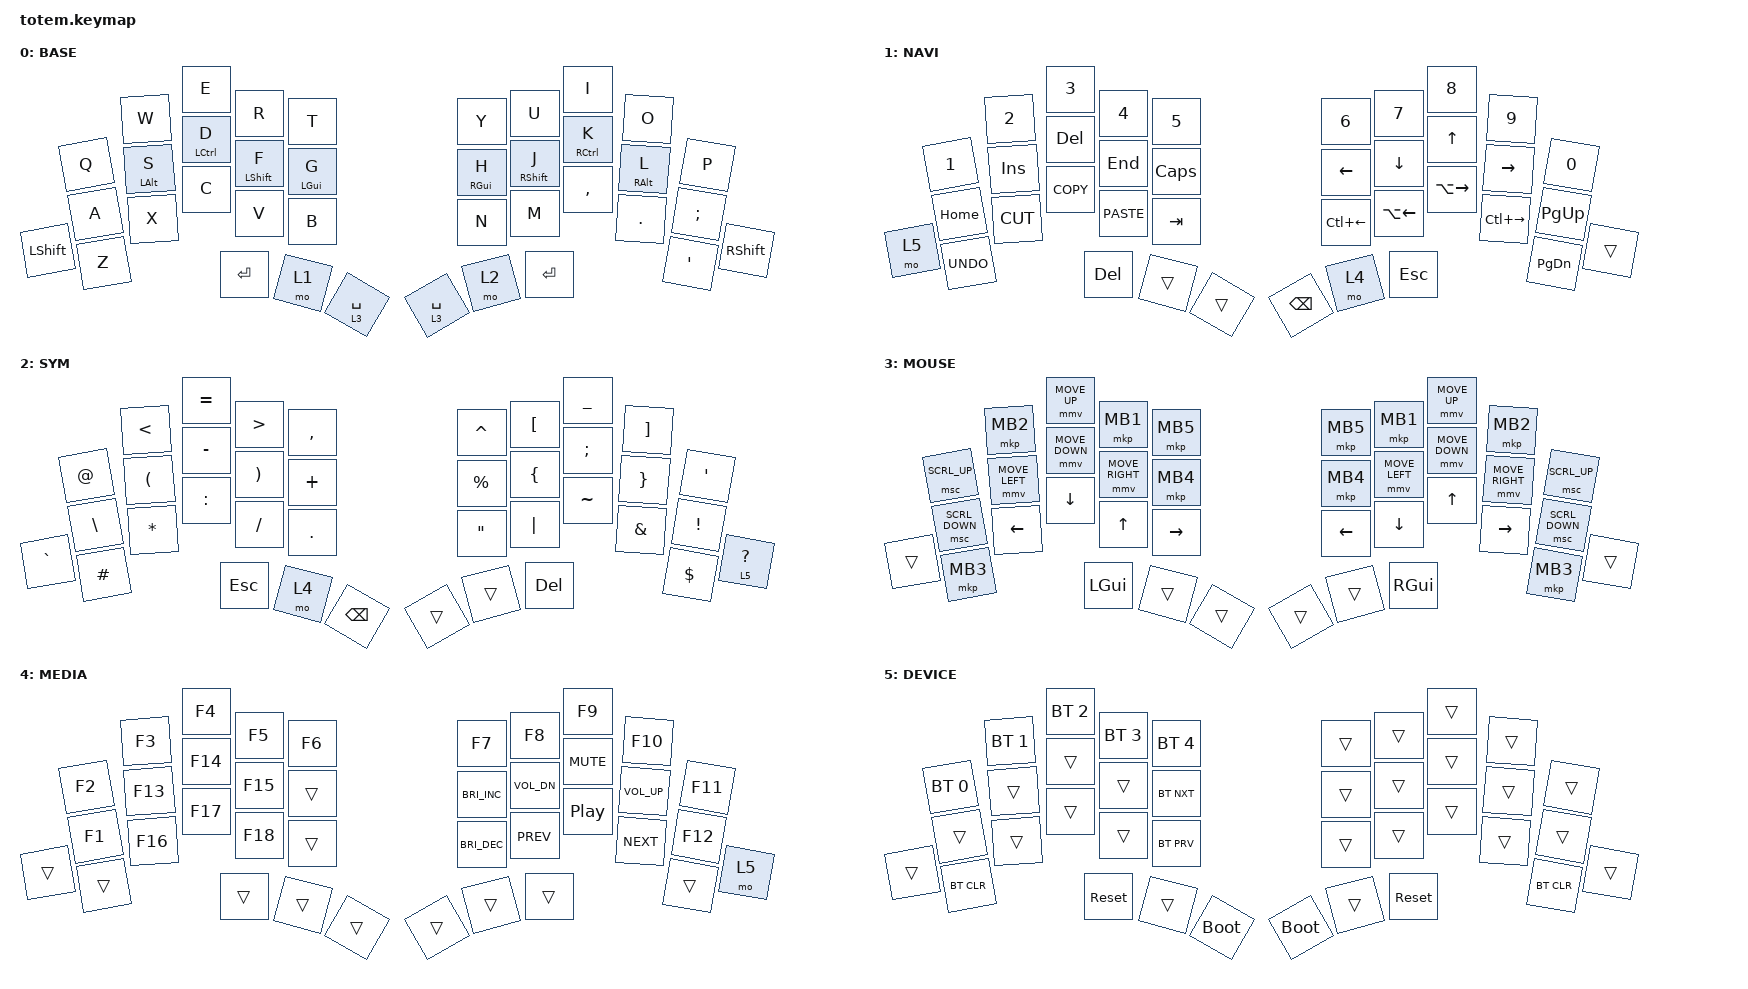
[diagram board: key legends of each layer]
//
//                                                        ▀▀▀▀▀     ▀▀▀▀▀          ▀▀█▀▀
//                                                        ▄▀▀▀▄  ▄  ▄▀▀▀▄  ▄  ▄▀▀▀▄  █  ▄▀▀▀▄
//                                                        █   █  █  █   █  █  █   █  █  █   █
//                                                         ▀▀▀   █   ▀▀▀   █   ▀▀▀   ▀   ▀▀▀
//                                                               █      ▄▄▄█▄▄▄    █   █
//                                                               ▀      █  █  █     █▄█
//                                                             ▀▀▀▀▀    █  █  █      ▀
//                                                                      ▀  ▀  ▀
//
// ▄▄▄▄▄▄▄▄▄▄▄▄▄▄▄▄▄▄▄▄▄▄▄▄▄▄▄▄▄▄▄▄▄▄▄▄▄▄▄▄▄▄▄▄▄▄▄▄▄▄▄▄▄▄▄▄▄▄▄▄▄▄▄▄▄▄▄▄▄▄▄▄▄▄▄▄▄▄▄▄▄▄▄▄▄▄▄▄▄▄▄▄▄▄▄▄▄▄▄▄▄▄▄▄▄▄▄▄▄▄▄▄▄▄▄▄▄▄▄▄▄▄▄▄▄▄▄▄▄▄▄▄▄▄▄▄▄▄▄▄▄▄▄▄▄▄▄▄▄

#include <behaviors.dtsi>
#include <dt-bindings/zmk/bt.h>
#include <dt-bindings/zmk/keys.h>
#include <dt-bindings/zmk/pointing.h>

#define Base   0
#define Nav    1
#define Sym    3
#define Mouse  4
#define Media  5
#define Device 6
#define Extra1 7
#define Extra2 8
#define Extra3 9

&mt {
    quick-tap-ms = <100>;
    global-quick-tap;
    flavor = "tap-preferred";
    tapping-term-ms = <170>;
};

&caps_word { continue-list = <UNDERSCORE MINUS BSPC>; };

/ {
    combos {
        compatible = "zmk,combos";

        combo_h {
            timeout-ms = <50>;
            key-positions = <6 7>;
            bindings = <&kp LEFT_BRACKET>;
            layers = <0>;
        };

        combo_tv_zn {
            bindings = <&kp RIGHT_BRACKET>;
            key-positions = <7 8>;
            layers = <0>;
        };

        combo_grave_esc {
            bindings = <&kp GRAVE>;
            key-positions = <26 27>;
            layers = <2>;
        };

        combo_q_mark {
            bindings = <&kp QMARK>;
            key-positions = <24 25>;
            layers = <2>;
        };

        combo_yo {
            bindings = <&kp BSLH>;
            key-positions = <2 3>;
            layers = <0>;
        };

        combo_esc {
            bindings = <&kp ESC>;
            key-positions = <0 1>;
            layers = <0>;
        };

        combo_caps_word {
            bindings = <&caps_word>;
            key-positions = <20 31>;
            layers = <0>;
        };
    };

    macros {
        gif: gif {
            label = "giphy";
            compatible = "zmk,behavior-macro";
            #binding-cells = <0>;
            bindings =
                <&macro_press>,
                <&kp LSHFT>,
                <&macro_tap>,
                <&kp N2>,
                <&macro_release>,
                <&kp LSHFT>,
                <&macro_tap>,
                <&kp G &kp I &kp F>;
        };
    };

    keymap {
        compatible = "zmk,keymap";

        // ▄▄▄▄▄▄▄▄▄▄▄▄▄▄▄▄▄▄▄▄▄▄▄▄▄▄▄▄▄▄▄▄▄▄▄▄▄▄▄▄▄▄▄▄▄▄▄▄▄▄▄▄▄▄▄▄▄▄▄▄▄▄▄▄▄▄▄▄▄▄▄▄▄▄▄▄▄▄▄▄▄▄▄▄▄▄▄▄▄▄▄▄▄▄▄▄▄▄▄▄▄▄▄▄▄▄▄▄▄▄▄▄▄▄▄▄▄▄▄▄▄▄▄▄▄▄▄▄▄▄▄▄▄▄▄▄▄▄▄▄▄▄▄▄▄▄▄▄▄

        Base {
            // ┏━━━━━━━━━━━━━━━━━━━━━━━━━━━━━━━━━━━━━━━┓

            label = "BASE";

            // ┗━━━━━━━━━━━━━━━━━━━━━━━━━━━━━━━━━━━━━━━┛
            //             ┏━━━━━━━━━━━┳━━━━━━━━━━━┳━━━━━━━━━━━┳━━━━━━━━━━━┳━━━━━━━━━━━┓   ┏━━━━━━━━━━━┳━━━━━━━━━━━┳━━━━━━━━━━━┳━━━━━━━━━━━┳━━━━━━━━━━━┓
            //             ┃     Q     ┃     W     ┃     E     ┃     R     ┃     T     ┃   ┃     Y     ┃     U     ┃     I     ┃     O     ┃     P     ┃
            //             ┣━━━━━━━━━━━╋━━━━━━━━━━━╋━━━━━━━━━━━╋━━━━━━━━━━━╋━━━━━━━━━━━┫   ┣━━━━━━━━━━━╋━━━━━━━━━━━╋━━━━━━━━━━━╋━━━━━━━━━━━╋━━━━━━━━━━━┫
            //             ┃     A     ┃     S     ┃     D     ┃     F     ┃     G     ┃   ┃     H     ┃     J     ┃     K     ┃     L     ┃     ;     ┃
            // ┏━━━━━━━━━━━╋━━━━━━━━━━━╋━━━━━━━━━━━╋━━━━━━━━━━━╋━━━━━━━━━━━╋━━━━━━━━━━━┫   ┣━━━━━━━━━━━╋━━━━━━━━━━━╋━━━━━━━━━━━╋━━━━━━━━━━━╋━━━━━━━━━━━╋━━━━━━━━━━━┓
            // ┃   SHIFT   ┃     Z     ┃     X     ┃     C     ┃     V     ┃     B     ┃   ┃     N     ┃     M     ┃     ,     ┃     .     ┃     '     ┃   SHIFT   ┃
            // ┗━━━━━━━━━━━┻━━━━━━━━━━━┻━━━━━━━━━━━╋━━━━━━━━━━━╋━━━━━━━━━━━╋━━━━━━━━━━━┫   ┣━━━━━━━━━━━╋━━━━━━━━━━━╋━━━━━━━━━━━╋━━━━━━━━━━━┻━━━━━━━━━━━┻━━━━━━━━━━━┛
            //                                     ┃   ENTER   ┃    NAV    ┃    SPC    ┃   ┃    SPC    ┃    SYM    ┃   ENTER   ┃
            //                                     ┗━━━━━━━━━━━┻━━━━━━━━━━━┻━━━━━━━━━━━┛   ┗━━━━━━━━━━━┻━━━━━━━━━━━┻━━━━━━━━━━━┛

            bindings = <
                &kp Q  &kp W           &kp E        &kp R        &kp T             &kp Y            &kp U        &kp I        &kp O       &kp P
                &kp A  &mt LEFT_ALT S  &mt LCTRL D  &mt LSHFT F  &mt LEFT_GUI G    &mt RIGHT_GUI H  &mt RSHFT J  &mt RCTRL K  &mt RALT L  &kp SEMICOLON
&kp LEFT_SHIFT  &kp Z  &kp X           &kp C        &kp V        &kp B             &kp N            &kp M        &kp COMMA    &kp DOT     &kp SQT        &kp RIGHT_SHIFT
                                       &kp ENTER    &mo 1        &lt 3 SPACE       &lt 3 SPACE      &mo 2        &kp ENTER
            >;
        };

        Nav {
            // ┏━━━━━━━━━━━━━━━━━━━━━━━━━━━━━━━━━━━━━━━┓

            label = "NAVI";

            // ┗━━━━━━━━━━━━━━━━━━━━━━━━━━━━━━━━━━━━━━━┛
            //             ┏━━━━━━━━━━━┳━━━━━━━━━━━┳━━━━━━━━━━━┳━━━━━━━━━━━┳━━━━━━━━━━━┓   ┏━━━━━━━━━━━┳━━━━━━━━━━━┳━━━━━━━━━━━┳━━━━━━━━━━━┳━━━━━━━━━━━┓
            //             ┃     1     ┃     2     ┃     3     ┃     4     ┃     5     ┃   ┃     6     ┃     7     ┃     8     ┃     9     ┃     0     ┃
            //             ┣━━━━━━━━━━━╋━━━━━━━━━━━╋━━━━━━━━━━━╋━━━━━━━━━━━╋━━━━━━━━━━━┫   ┣━━━━━━━━━━━╋━━━━━━━━━━━╋━━━━━━━━━━━╋━━━━━━━━━━━╋━━━━━━━━━━━┫
            //             ┃    HOME   ┃  INSERT   ┃   DELETE  ┃    END    ┃   CAPS    ┃   ┃   LEFT    ┃   DOWN    ┃    UP     ┃   RIGHT   ┃   P UP    ┃
            // ┏━━━━━━━━━━━╋━━━━━━━━━━━╋━━━━━━━━━━━╋━━━━━━━━━━━╋━━━━━━━━━━━╋━━━━━━━━━━━┫   ┣━━━━━━━━━━━╋━━━━━━━━━━━╋━━━━━━━━━━━╋━━━━━━━━━━━╋━━━━━━━━━━━╋━━━━━━━━━━━┓
            // ┃           ┃    UNDO   ┃    CUT    ┃   COPY    ┃   PASTE   ┃    TAB    ┃   ┃ CTRL LEFT ┃ ALT LEFT  ┃ ALT RIGHT ┃ CTRL LEFT ┃   P DOWN  ┃           ┃
            // ┗━━━━━━━━━━━┻━━━━━━━━━━━┻━━━━━━━━━━━╋━━━━━━━━━━━╋━━━━━━━━━━━╋━━━━━━━━━━━┫   ┣━━━━━━━━━━━╋━━━━━━━━━━━╋━━━━━━━━━━━╋━━━━━━━━━━━┻━━━━━━━━━━━┻━━━━━━━━━━━┛
            //                                     ┃    DEL    ┃           ┃           ┃   ┃   BSPC    ┃    ADJ    ┃    ESC    ┃
            //                                     ┗━━━━━━━━━━━┻━━━━━━━━━━━┻━━━━━━━━━━━┛   ┗━━━━━━━━━━━┻━━━━━━━━━━━┻━━━━━━━━━━━┛

            bindings = <
       &kp NUMBER_1  &kp NUMBER_2  &kp NUMBER_3  &kp NUMBER_4  &kp N5      &kp NUMBER_6   &kp N7        &kp N8         &kp N9         &kp N0
       &kp HOME      &kp INSERT    &kp DELETE    &kp END       &kp CAPS    &kp LEFT       &kp DOWN      &kp UP_ARROW   &kp RIGHT      &kp PAGE_UP
&mo 5  &kp K_UNDO    &kp K_CUT     &kp K_COPY    &kp K_PASTE   &kp TAB     &kp LC(LEFT)   &kp LA(LEFT)  &kp LA(RIGHT)  &kp LC(RIGHT)  &kp PAGE_DOWN  &trans
                                   &kp DEL       &trans        &trans      &kp BACKSPACE  &mo 4         &kp ESC
            >;
        };

        Sym {
            // ┏━━━━━━━━━━━━━━━━━━━━━━━━━━━━━━━━━━━━━━━┓

            label = "SYM";

            // ┗━━━━━━━━━━━━━━━━━━━━━━━━━━━━━━━━━━━━━━━┛
            //             ┏━━━━━━━━━━━┳━━━━━━━━━━━┳━━━━━━━━━━━┳━━━━━━━━━━━┳━━━━━━━━━━━┓   ┏━━━━━━━━━━━┳━━━━━━━━━━━┳━━━━━━━━━━━┳━━━━━━━━━━━┳━━━━━━━━━━━┓
            //             ┃     @     ┃     <     ┃     =     ┃     >     ┃     ,     ┃   ┃     ^     ┃     [     ┃     _     ┃     ]     ┃     '     ┃
            //             ┣━━━━━━━━━━━╋━━━━━━━━━━━╋━━━━━━━━━━━╋━━━━━━━━━━━╋━━━━━━━━━━━┫   ┣━━━━━━━━━━━╋━━━━━━━━━━━╋━━━━━━━━━━━╋━━━━━━━━━━━╋━━━━━━━━━━━┫
            //             ┃     \     ┃     (     ┃     -     ┃     )     ┃     +     ┃   ┃     %     ┃     {     ┃     ;     ┃     }     ┃     !     ┃
            // ┏━━━━━━━━━━━╋━━━━━━━━━━━╋━━━━━━━━━━━╋━━━━━━━━━━━╋━━━━━━━━━━━╋━━━━━━━━━━━┫   ┣━━━━━━━━━━━╋━━━━━━━━━━━╋━━━━━━━━━━━╋━━━━━━━━━━━╋━━━━━━━━━━━╋━━━━━━━━━━━┓
            // ┃     `     ┃     #     ┃     *     ┃     :     ┃     /     ┃     .     ┃   ┃     "     ┃     |     ┃     ~     ┃     &     ┃     $     ┃     ?     ┃
            // ┗━━━━━━━━━━━┻━━━━━━━━━━━┻━━━━━━━━━━━╋━━━━━━━━━━━╋━━━━━━━━━━━╋━━━━━━━━━━━┫   ┣━━━━━━━━━━━╋━━━━━━━━━━━╋━━━━━━━━━━━╋━━━━━━━━━━━┻━━━━━━━━━━━┻━━━━━━━━━━━┛
            //                                     ┃    ESC    ┃    ADJ    ┃   BSPC    ┃   ┃           ┃           ┃    DEL    ┃
            //                                     ┗━━━━━━━━━━━┻━━━━━━━━━━━┻━━━━━━━━━━━┛   ┗━━━━━━━━━━━┻━━━━━━━━━━━┻━━━━━━━━━━━┛

            bindings = <
           &kp AT         &kp LT    &kp EQUAL  &kp GT     &kp COMMA        &kp CARET  &kp LBKT  &kp UNDER  &kp RBKT  &kp SQT
           &kp BACKSLASH  &kp LPAR  &kp MINUS  &kp RPAR   &kp PLUS         &kp PRCNT  &kp LBRC  &kp SEMI   &kp RBRC  &kp EXCL
&kp GRAVE  &kp HASH       &kp STAR  &kp COLON  &kp SLASH  &kp PERIOD       &kp DQT    &kp PIPE  &kp TILDE  &kp AMPS  &kp DLLR  &lt 5 QMARK
                                    &kp ESC    &mo 4      &kp BACKSPACE    &trans     &trans    &kp DEL
            >;
        };

        Mouse {
            // ┏━━━━━━━━━━━━━━━━━━━━━━━━━━━━━━━━━━━━━━━┓

            label = "MOUSE";

            // ┗━━━━━━━━━━━━━━━━━━━━━━━━━━━━━━━━━━━━━━━┛
            //             ┏━━━━━━━━━━━┳━━━━━━━━━━━┳━━━━━━━━━━━┳━━━━━━━━━━━┳━━━━━━━━━━━┓   ┏━━━━━━━━━━━┳━━━━━━━━━━━┳━━━━━━━━━━━┳━━━━━━━━━━━┳━━━━━━━━━━━┓
            //             ┃  SCRL UP  ┃  R CLICK  ┃ MOUSE UP  ┃  L CLICK  ┃MOUSE NEXT ┃   ┃MOUSE NEXT ┃  L CLICK  ┃ MOUSE UP  ┃  R CLICK  ┃  SCRL UP  ┃
            //             ┣━━━━━━━━━━━╋━━━━━━━━━━━╋━━━━━━━━━━━╋━━━━━━━━━━━╋━━━━━━━━━━━┫   ┣━━━━━━━━━━━╋━━━━━━━━━━━╋━━━━━━━━━━━╋━━━━━━━━━━━╋━━━━━━━━━━━┫
            //             ┃ SCRL DOWN ┃MOUSE LEFT ┃MOUSE DOWN ┃MOUSE RIGHT┃MOUSE PREV ┃   ┃MOUSE PREV ┃MOUSE LEFT ┃MOUSE DOWN ┃MOUSE RIGHT┃ SCRL DOWN ┃
            // ┏━━━━━━━━━━━╋━━━━━━━━━━━╋━━━━━━━━━━━╋━━━━━━━━━━━╋━━━━━━━━━━━╋━━━━━━━━━━━┫   ┣━━━━━━━━━━━╋━━━━━━━━━━━╋━━━━━━━━━━━╋━━━━━━━━━━━╋━━━━━━━━━━━╋━━━━━━━━━━━┓
            // ┃           ┃ MID CLICK ┃   LEFT    ┃   DOWN    ┃    UP     ┃   RIGHT   ┃   ┃   LEFT    ┃   DOWN    ┃    UP     ┃   RIGHT   ┃ MID CLICK ┃           ┃
            // ┗━━━━━━━━━━━┻━━━━━━━━━━━┻━━━━━━━━━━━╋━━━━━━━━━━━╋━━━━━━━━━━━╋━━━━━━━━━━━┫   ┣━━━━━━━━━━━╋━━━━━━━━━━━╋━━━━━━━━━━━╋━━━━━━━━━━━┻━━━━━━━━━━━┻━━━━━━━━━━━┛
            //                                     ┃   L GUI   ┃           ┃           ┃   ┃           ┃           ┃   R GUI   ┃
            //                                     ┗━━━━━━━━━━━┻━━━━━━━━━━━┻━━━━━━━━━━━┛   ┗━━━━━━━━━━━┻━━━━━━━━━━━┻━━━━━━━━━━━┛

            bindings = <
        &msc SCRL_UP    &mkp MB2        &mmv MOVE_UP    &mkp MB1         &mkp MB5     &mkp MB5  &mkp MB1        &mmv MOVE_UP    &mkp MB2         &msc SCRL_UP
        &msc SCRL_DOWN  &mmv MOVE_LEFT  &mmv MOVE_DOWN  &mmv MOVE_RIGHT  &mkp MB4     &mkp MB4  &mmv MOVE_LEFT  &mmv MOVE_DOWN  &mmv MOVE_RIGHT  &msc SCRL_DOWN
&trans  &mkp MB3        &kp LEFT        &kp DOWN        &kp UP           &kp RIGHT    &kp LEFT  &kp DOWN        &kp UP          &kp RIGHT        &mkp MB3        &trans
                                        &kp LEFT_GUI    &trans           &trans       &trans    &trans          &kp RIGHT_GUI
            >;
        };

        Media {
            // ┏━━━━━━━━━━━━━━━━━━━━━━━━━━━━━━━━━━━━━━━┓

            label = "MEDIA";

            // ┗━━━━━━━━━━━━━━━━━━━━━━━━━━━━━━━━━━━━━━━┛
            //             ┏━━━━━━━━━━━┳━━━━━━━━━━━┳━━━━━━━━━━━┳━━━━━━━━━━━┳━━━━━━━━━━━┓   ┏━━━━━━━━━━━┳━━━━━━━━━━━┳━━━━━━━━━━━┳━━━━━━━━━━━┳━━━━━━━━━━━┓
            //             ┃    F2     ┃    F3     ┃    F4     ┃    F5     ┃    F6     ┃   ┃    F7     ┃    F8     ┃    F9     ┃    F10    ┃    F11    ┃
            //             ┣━━━━━━━━━━━╋━━━━━━━━━━━╋━━━━━━━━━━━╋━━━━━━━━━━━╋━━━━━━━━━━━┫   ┣━━━━━━━━━━━╋━━━━━━━━━━━╋━━━━━━━━━━━╋━━━━━━━━━━━╋━━━━━━━━━━━┫
            //             ┃    F1     ┃    F13    ┃    F14    ┃    F15    ┃  BT NEXT  ┃   ┃DISP BR UP ┃  VOL DOWN ┃   MUTE    ┃  VOL UP   ┃    F12    ┃
            // ┏━━━━━━━━━━━╋━━━━━━━━━━━╋━━━━━━━━━━━╋━━━━━━━━━━━╋━━━━━━━━━━━╋━━━━━━━━━━━┫   ┣━━━━━━━━━━━╋━━━━━━━━━━━╋━━━━━━━━━━━╋━━━━━━━━━━━╋━━━━━━━━━━━╋━━━━━━━━━━━┓
            // ┃           ┃           ┃    F16    ┃    F17    ┃    F18    ┃  BT PREV  ┃   ┃DISP BR DWN┃   PREV    ┃PLAY PAUSE ┃    NEXT   ┃           ┃           ┃
            // ┗━━━━━━━━━━━┻━━━━━━━━━━━┻━━━━━━━━━━━╋━━━━━━━━━━━╋━━━━━━━━━━━╋━━━━━━━━━━━┫   ┣━━━━━━━━━━━╋━━━━━━━━━━━╋━━━━━━━━━━━┃━━━━━━━━━━━┻━━━━━━━━━━━┻━━━━━━━━━━━┛
            //                                     ┃ BT CLEAR  ┃           ┃  SYS RES  ┃   ┃ BOOTLOADR ┃           ┃           ┃
            //                                     ┗━━━━━━━━━━━┻━━━━━━━━━━━┻━━━━━━━━━━━┛   ┗━━━━━━━━━━━┻━━━━━━━━━━━┻━━━━━━━━━━━┛

            bindings = <
        &kp F2  &kp F3   &kp F4   &kp F5   &kp F6    &kp F7                &kp F8        &kp F9            &kp F10       &kp F11
        &kp F1  &kp F13  &kp F14  &kp F15  &trans    &kp C_BRIGHTNESS_INC  &kp C_VOL_DN  &kp K_MUTE        &kp C_VOL_UP  &kp F12
&trans  &trans  &kp F16  &kp F17  &kp F18  &trans    &kp C_BRIGHTNESS_DEC  &kp C_PREV    &kp C_PLAY_PAUSE  &kp C_NEXT    &trans   &mo 5
                         &trans   &trans   &trans    &trans                &trans        &trans
            >;
        };

        Device {
            // ┏━━━━━━━━━━━━━━━━━━━━━━━━━━━━━━━━━━━━━━━┓

            label = "DEVICE";

            // ┗━━━━━━━━━━━━━━━━━━━━━━━━━━━━━━━━━━━━━━━┛
            //             ┏━━━━━━━━━━━┳━━━━━━━━━━━┳━━━━━━━━━━━┳━━━━━━━━━━━┳━━━━━━━━━━━┓   ┏━━━━━━━━━━━┳━━━━━━━━━━━┳━━━━━━━━━━━┳━━━━━━━━━━━┳━━━━━━━━━━━┓
            //             ┃    F2     ┃    F3     ┃    F4     ┃    F5     ┃    F6     ┃   ┃    F7     ┃    F8     ┃    F9     ┃    F10    ┃    F11    ┃
            //             ┣━━━━━━━━━━━╋━━━━━━━━━━━╋━━━━━━━━━━━╋━━━━━━━━━━━╋━━━━━━━━━━━┫   ┣━━━━━━━━━━━╋━━━━━━━━━━━╋━━━━━━━━━━━╋━━━━━━━━━━━╋━━━━━━━━━━━┫
            //             ┃    F1     ┃    F13    ┃    F14    ┃    F15    ┃  BT NEXT  ┃   ┃DISP BR UP ┃  VOL DOWN ┃   MUTE    ┃  VOL UP   ┃    F12    ┃
            // ┏━━━━━━━━━━━╋━━━━━━━━━━━╋━━━━━━━━━━━╋━━━━━━━━━━━╋━━━━━━━━━━━╋━━━━━━━━━━━┫   ┣━━━━━━━━━━━╋━━━━━━━━━━━╋━━━━━━━━━━━╋━━━━━━━━━━━╋━━━━━━━━━━━╋━━━━━━━━━━━┓
            // ┃           ┃           ┃    F16    ┃    F17    ┃    F18    ┃  BT PREV  ┃   ┃DISP BR DWN┃   PREV    ┃PLAY PAUSE ┃    NEXT   ┃           ┃           ┃
            // ┗━━━━━━━━━━━┻━━━━━━━━━━━┻━━━━━━━━━━━╋━━━━━━━━━━━╋━━━━━━━━━━━╋━━━━━━━━━━━┫   ┣━━━━━━━━━━━╋━━━━━━━━━━━╋━━━━━━━━━━━┃━━━━━━━━━━━┻━━━━━━━━━━━┻━━━━━━━━━━━┛
            //                                     ┃ BT CLEAR  ┃           ┃  SYS RES  ┃   ┃ BOOTLOADR ┃           ┃           ┃
            //                                     ┗━━━━━━━━━━━┻━━━━━━━━━━━┻━━━━━━━━━━━┛   ┗━━━━━━━━━━━┻━━━━━━━━━━━┻━━━━━━━━━━━┛

            bindings = <
        &bt BT_SEL 0  &bt BT_SEL 1  &bt BT_SEL 2  &bt BT_SEL 3  &bt BT_SEL 4    &trans       &trans  &trans      &trans  &trans
        &trans        &trans        &trans        &trans        &bt BT_NXT      &trans       &trans  &trans      &trans  &trans
&trans  &bt BT_CLR    &trans        &trans        &trans        &bt BT_PRV      &trans       &trans  &trans      &trans  &bt BT_CLR  &trans
                                    &sys_reset    &trans        &bootloader     &bootloader  &trans  &sys_reset
            >;
        };

        Extra1 { status = "reserved"; };

        Extra2 { status = "reserved"; };

        Extra3 { status = "reserved"; };
    };
};
